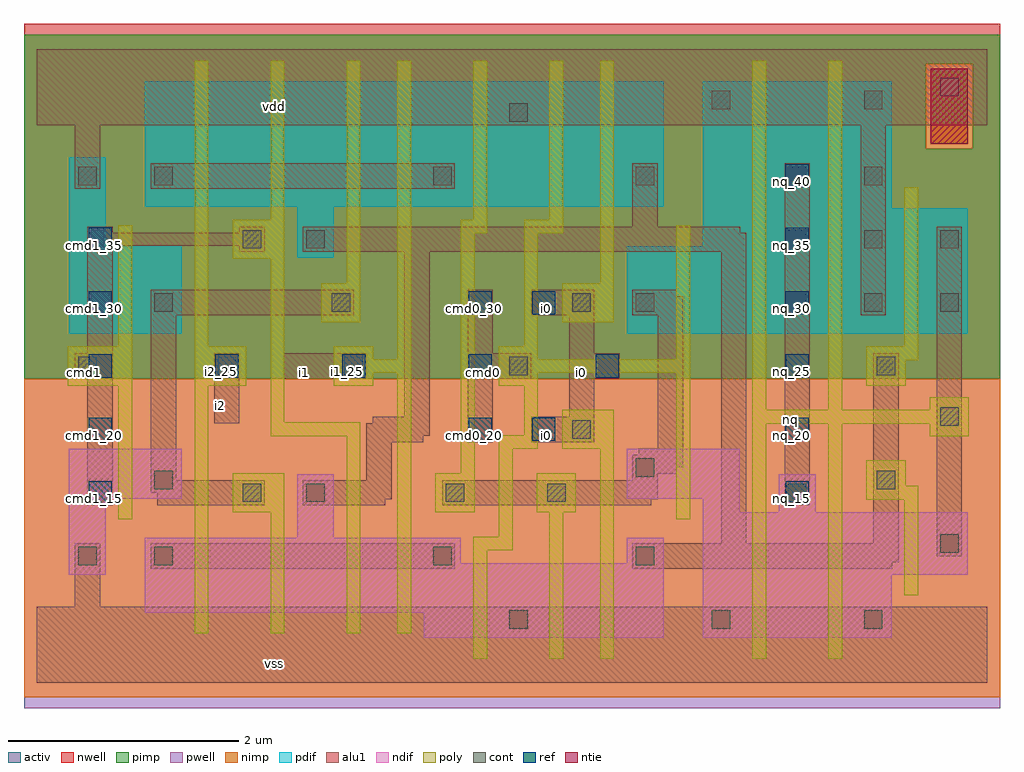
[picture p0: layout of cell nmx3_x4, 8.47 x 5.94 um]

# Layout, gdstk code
import gdstk
lib = gdstk.Library(unit=1e-6, precision=2.5e-09)
def R(c, l, rs):  # rectangles x0, y0, x1, y1
    for r in rs: c.add(gdstk.rectangle(r[:2], r[2:], *l))
def A(c, l, x, y, w, h, nx, ny, dx, dy):  # array of equal rectangles
    R(c, l, [(x+i*dx, y+j*dy, x+i*dx+w, y+j*dy+h) for i in range(nx) for j in range(ny)])
ndif = (3, 0)
pdif = (4, 0)
ntie = (5, 0)
ref = (24, 0)
cont = (25, 0)
pwell = (41, 0)
nwell = (42, 0)
activ = (43, 0)
pimp = (44, 0)
nimp = (45, 0)
poly = (46, 0)
alu1 = (49, 0)

nmx3_x4 = lib.new_cell('nmx3_x4')
R(nmx3_x4, ndif, [(3.36,0.39,5.44,0.61), (3.36,0.39,5.44,0.61), (5.78,0.39,7.42,0.94), (5.78,0.39,7.42,0.94), (0.94,0.61,5.44,1.04), (0.94,0.61,5.44,1.04), (0.28,0.94,0.6,1.6), (0.28,0.94,0.6,1.6), (5.78,0.94,8.08,1.48), (5.78,0.94,8.08,1.48), (0.94,1.04,3.68,1.26), (0.94,1.04,3.68,1.26), (5.12,1.04,5.44,1.26), (5.12,1.04,5.44,1.26), (2.26,1.26,2.58,1.81), (2.26,1.26,2.58,1.81), (5.78,1.48,6.1,1.6), (5.78,1.48,6.1,1.6), (6.44,1.48,6.76,1.81), (6.44,1.48,6.76,1.81), (0.28,1.6,1.26,2.03), (0.28,1.6,1.26,2.03), (5.12,1.6,6.1,2.03), (5.12,1.6,6.1,2.03)])
R(nmx3_x4, pdif, [(0.28,3.03,1.26,3.79), (0.28,3.03,1.26,3.79), (5.12,3.03,8.08,3.79), (5.12,3.03,8.08,3.79), (2.26,3.69,2.58,4.13), (2.26,3.69,2.58,4.13), (0.28,3.79,0.6,4.56), (0.28,3.79,0.6,4.56), (5.78,3.79,8.08,4.12), (5.78,3.79,8.08,4.12), (5.78,4.12,7.42,5.22), (5.78,4.12,7.42,5.22), (0.94,4.13,5.44,5.22), (0.94,4.13,5.44,5.22)])
R(nmx3_x4, ntie, [(7.76,4.68,8.08,5.33), (7.76,4.68,8.08,5.33)])
A(nmx3_x4, ref, 6.5, 1.55, 0.2, 0.2, 1, 6, 0, 0.55)
A(nmx3_x4, ref, 0.45, 2.65, 0.2, 0.2, 5, 1, 1.1, 0)
R(nmx3_x4, ref, [(0.45,1.55,0.65,1.75), (0.45,2.1,0.65,2.3), (3.75,2.1,3.95,2.3), (4.3,2.1,4.5,2.3), (0.45,3.2,0.65,3.4), (3.75,3.2,3.95,3.4), (4.3,3.2,4.5,3.4), (0.45,3.75,0.65,3.95)])
A(nmx3_x4, cont, 4.1, 0.47, 0.16, 0.16, 1, 3, 0, 2.2)
A(nmx3_x4, cont, 0.36, 1.02, 0.16, 0.16, 1, 3, 0, 1.65)
A(nmx3_x4, cont, 6.52, 3.22, 0.16, 0.16, 3, 2, 0.66, 0.55)
R(nmx3_x4, cont, [(5.86,0.47,6.02,0.63), (7.18,0.47,7.34,0.63), (1.02,1.02,1.18,1.18), (3.44,1.02,3.6,1.18), (5.2,1.02,5.36,1.18), (7.84,1.13,8,1.29), (1.79,1.57,1.95,1.73), (2.34,1.57,2.5,1.73), (3.55,1.57,3.71,1.73), (4.43,1.57,4.59,1.73), (6.52,1.57,6.68,1.73), (1.02,1.68,1.18,1.84), (7.29,1.68,7.45,1.84), (5.2,1.79,5.36,1.95), (4.65,2.12,4.81,2.28), (7.84,2.23,8,2.39), (1.57,2.67,1.73,2.83), (2.67,2.67,2.83,2.83), (7.29,2.67,7.45,2.83), (1.02,3.22,1.18,3.38), (2.56,3.22,2.72,3.38), (4.65,3.22,4.81,3.38), (5.2,3.22,5.36,3.38), (1.79,3.77,1.95,3.93), (2.34,3.77,2.5,3.93), (1.02,4.32,1.18,4.48), (3.44,4.32,3.6,4.48), (5.2,4.32,5.36,4.48), (6.52,4.32,6.68,4.48), (7.18,4.32,7.34,4.48), (5.86,4.98,6.02,5.14), (7.18,4.98,7.34,5.14), (7.84,5.09,8,5.25)])
R(nmx3_x4, pwell, [(-0.11,-0.22,8.36,2.64)])
R(nmx3_x4, nwell, [(-0.11,2.64,8.36,5.72)])
R(nmx3_x4, activ, [(3.36,0.39,5.44,0.61), (3.36,0.39,5.44,0.61), (5.78,0.39,7.42,0.94), (5.78,0.39,7.42,0.94), (0.94,0.61,5.44,1.04), (0.94,0.61,5.44,1.04), (0.28,0.94,0.6,1.6), (0.28,0.94,0.6,1.6), (5.78,0.94,8.08,1.48), (5.78,0.94,8.08,1.48), (0.94,1.04,3.68,1.26), (0.94,1.04,3.68,1.26), (5.12,1.04,5.44,1.26), (5.12,1.04,5.44,1.26), (2.26,1.26,2.58,1.81), (2.26,1.26,2.58,1.81), (5.78,1.48,6.1,1.6), (5.78,1.48,6.1,1.6), (6.44,1.48,6.76,1.81), (6.44,1.48,6.76,1.81), (0.28,1.6,1.26,2.03), (0.28,1.6,1.26,2.03), (5.12,1.6,6.1,2.03), (5.12,1.6,6.1,2.03), (0.28,3.03,1.26,3.79), (0.28,3.03,1.26,3.79), (5.12,3.03,8.08,3.79), (5.12,3.03,8.08,3.79), (2.26,3.69,2.58,4.13), (2.26,3.69,2.58,4.13), (0.28,3.79,0.6,4.56), (0.28,3.79,0.6,4.56), (5.78,3.79,8.08,4.12), (5.78,3.79,8.08,4.12), (5.78,4.12,7.42,5.22), (5.78,4.12,7.42,5.22), (0.94,4.13,5.44,5.22), (0.94,4.13,5.44,5.22), (7.76,4.68,8.08,5.33), (7.76,4.68,8.08,5.33)])
R(nmx3_x4, pimp, [(-0.11,2.64,8.36,4.635), (-0.11,4.635,7.715,5.375), (8.125,4.635,8.36,5.375), (-0.11,5.375,8.36,5.625)])
R(nmx3_x4, nimp, [(-0.11,-0.125,8.36,2.64), (7.715,4.635,8.125,5.375)])
R(nmx3_x4, poly, [(3.79,0.21,3.91,1.15), (4.45,0.21,4.57,1.48), (4.89,0.21,5.01,2.03), (6.21,0.21,6.33,2.25), (6.87,0.21,6.99,2.25), (1.37,0.43,1.49,2.58), (2.03,0.43,2.15,1.48), (2.69,0.43,2.81,2.14), (3.13,0.43,3.25,2.69), (7.53,0.76,7.65,1.59), (3.79,1.15,4.13,1.27), (4.01,1.27,4.13,2.03), (0.71,1.42,0.83,2.58), (5.55,1.42,5.67,2.69), (1.7,1.48,2.15,1.82), (3.46,1.48,3.8,1.82), (4.34,1.48,4.68,1.82), (7.2,1.59,7.65,1.71), (7.2,1.71,7.54,1.93), (3.68,1.82,3.8,3.9), (4.01,2.03,4.35,2.15), (4.56,2.03,5.01,2.37), (2.03,2.14,2.81,2.26), (7.75,2.14,8.09,2.25), (4.23,2.15,4.35,2.58), (6.21,2.25,8.09,2.37), (2.03,2.26,2.15,3.68), (6.21,2.37,6.33,5.4), (6.87,2.37,6.99,5.4), (7.75,2.37,8.09,2.48), (0.27,2.58,0.83,2.92), (1.37,2.58,1.82,2.92), (2.58,2.58,2.92,2.69), (4.01,2.58,4.35,2.69), (7.2,2.58,7.54,2.8), (2.58,2.69,3.25,2.81), (4.01,2.69,5.67,2.81), (7.2,2.8,7.65,2.92), (2.58,2.81,2.92,2.92), (3.13,2.81,3.25,5.4), (4.01,2.81,4.35,2.92), (5.55,2.81,5.67,3.97), (0.71,2.92,0.83,3.97), (1.37,2.92,1.49,5.4), (4.23,2.92,4.35,3.9), (7.53,2.92,7.65,4.3), (2.47,3.13,2.81,3.47), (4.56,3.13,5.01,3.47), (2.69,3.47,2.81,5.4), (4.89,3.47,5.01,5.4), (1.7,3.68,2.15,4.02), (3.68,3.9,3.91,4.02), (4.23,3.9,4.57,4.02), (2.03,4.02,2.15,5.4), (3.79,4.02,3.91,5.4), (4.45,4.02,4.57,5.4)])
R(nmx3_x4, alu1, [(0,0,8.25,0.66), (0.33,0.66,0.55,1.21), (0.99,0.99,3.63,1.21), (5.17,0.99,7.425,1.045), (5.17,1.045,7.48,1.21), (7.81,1.1,8.03,3.96), (5.94,1.21,6.16,3.74), (7.26,1.21,7.48,2.86), (0.44,1.54,0.66,2.64), (1.045,1.54,1.98,1.65), (2.31,1.54,3.025,1.595), (3.52,1.54,5.335,1.595), (6.49,1.54,6.71,4.51), (2.31,1.595,3.08,1.76), (3.52,1.595,5.39,1.76), (0.99,1.65,1.98,1.76), (0.99,1.76,1.21,3.19), (2.86,1.76,3.08,2.09), (5.17,1.76,5.39,1.815), (5.17,1.815,5.555,1.87), (5.17,1.87,5.61,1.98), (5.225,1.98,5.61,2.035), (5.39,2.035,5.61,3.19), (2.86,2.09,3.355,2.145), (3.74,2.09,3.96,2.64), (4.29,2.09,4.84,2.31), (2.86,2.145,3.41,2.255), (1.54,2.255,1.76,2.86), (2.915,2.255,3.41,2.31), (3.19,2.31,3.41,3.74), (4.62,2.31,4.84,2.64), (0.33,2.64,0.66,2.86), (2.145,2.64,2.86,2.86), (3.74,2.64,4.29,2.86), (4.62,2.64,5.06,2.86), (0.44,2.86,0.66,3.795), (3.74,2.86,3.96,3.41), (4.62,2.86,4.84,3.19), (0.99,3.19,2.75,3.41), (4.29,3.19,4.84,3.41), (5.17,3.19,5.61,3.355), (7.15,3.19,7.37,4.84), (5.17,3.355,5.555,3.41), (1.76,3.74,1.98,3.795), (2.31,3.74,6.16,3.905), (0.44,3.795,1.98,3.905), (0.44,3.905,0.66,3.96), (1.76,3.905,1.98,3.96), (2.31,3.905,6.105,3.96), (5.17,3.96,5.39,4.51), (0.33,4.29,0.55,4.84), (0.99,4.29,3.63,4.51), (0,4.84,8.25,5.5)])
nmx3_x4.add(gdstk.Label('vss', (2.0625,0.165), layer=49, texttype=0))
nmx3_x4.add(gdstk.Label('nq', (6.545,2.2825), layer=49, texttype=0))
nmx3_x4.add(gdstk.Label('i0', (4.4275,2.145), layer=49, texttype=0))
nmx3_x4.add(gdstk.Label('i0', (4.73,2.695), layer=49, texttype=0))
nmx3_x4.add(gdstk.Label('cmd0', (3.8775,2.695), layer=49, texttype=0))
nmx3_x4.add(gdstk.Label('i0', (4.4275,3.245), layer=49, texttype=0))
nmx3_x4.add(gdstk.Label('i1', (2.3225,2.695), layer=49, texttype=0))
nmx3_x4.add(gdstk.Label('i2', (1.595,2.405), layer=49, texttype=0))
nmx3_x4.add(gdstk.Label('cmd1', (0.4125,2.695), layer=49, texttype=0))
nmx3_x4.add(gdstk.Label('vdd', (2.0625,5.005), layer=49, texttype=0))
nmx3_x4.add(gdstk.Label('nq_20', (6.55,2.15), layer=24, texttype=0))
nmx3_x4.add(gdstk.Label('nq_40', (6.55,4.35), layer=24, texttype=0))
nmx3_x4.add(gdstk.Label('nq_35', (6.55,3.8), layer=24, texttype=0))
nmx3_x4.add(gdstk.Label('nq_30', (6.55,3.25), layer=24, texttype=0))
nmx3_x4.add(gdstk.Label('nq_25', (6.55,2.7), layer=24, texttype=0))
nmx3_x4.add(gdstk.Label('nq_15', (6.55,1.6), layer=24, texttype=0))
nmx3_x4.add(gdstk.Label('i0_25', (4.9,2.7), layer=24, texttype=0))
nmx3_x4.add(gdstk.Label('i0_30', (4.35,3.25), layer=24, texttype=0))
nmx3_x4.add(gdstk.Label('i0_20', (4.35,2.15), layer=24, texttype=0))
nmx3_x4.add(gdstk.Label('cmd0_30', (3.8,3.25), layer=24, texttype=0))
nmx3_x4.add(gdstk.Label('cmd0_25', (3.8,2.7), layer=24, texttype=0))
nmx3_x4.add(gdstk.Label('cmd0_20', (3.8,2.15), layer=24, texttype=0))
nmx3_x4.add(gdstk.Label('i1_25', (2.7,2.7), layer=24, texttype=0))
nmx3_x4.add(gdstk.Label('i2_25', (1.6,2.7), layer=24, texttype=0))
nmx3_x4.add(gdstk.Label('cmd1_35', (0.5,3.8), layer=24, texttype=0))
nmx3_x4.add(gdstk.Label('cmd1_30', (0.5,3.25), layer=24, texttype=0))
nmx3_x4.add(gdstk.Label('cmd1_25', (0.5,2.7), layer=24, texttype=0))
nmx3_x4.add(gdstk.Label('cmd1_20', (0.5,2.15), layer=24, texttype=0))
nmx3_x4.add(gdstk.Label('cmd1_15', (0.5,1.6), layer=24, texttype=0))

lib.write_gds('nmx3_x4.gds')
